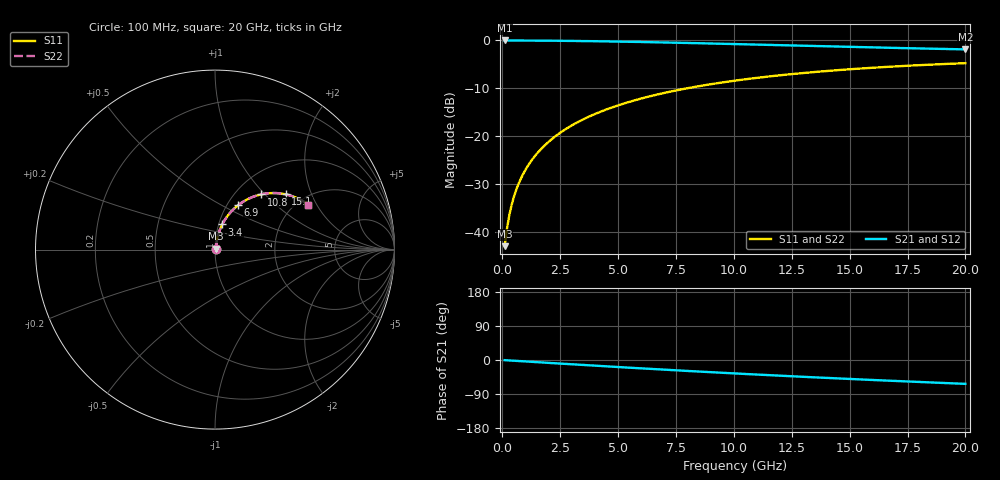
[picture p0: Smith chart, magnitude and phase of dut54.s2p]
! Touchstone file exported from HFSS 2026.1.0
!  File:  C:/ffzhzh/LocalFiles/Ansys_Project_Files/temp_train_TMRDL_54_1782880907_8056.aedt
!  Generated:  12:43:13 PM Jul  1, 2026
!  Design:  TMRDL
!  Project:  temp_train_TMRDL_54_1782880907_8056
! Variables:
!  h_bsmrdl = 2um
!  h_ox = 20um
!  h_rdl = 5um
!  h_sub = 80um
!  h_tmrdl = 3.82um
!  h_tsv = 80um
!  h_via = 3um
!  l_bsmrdl = 300um
!  l_sub = 1369.83um
!  l_tmrdl = 969.83um
!  m_sub = 200um
!  pitch = 50.71um
!  r_tsv = 6um
!  s_tmrdl = 10um
!  w_bsmrdl = 18um
!  w_sub = 500um
!  w_tmrdl = 16.88um
!  x_tsv_center1 = 978.27um
!  x_tsv_center2 = 1296.27um
!  x_tsv_center3 = 2282.98um
!  x_tsv_center4 = 2600.98um
!  x_tsv_center5 = 3587.69um
!  x_tsv_center6 = 3905.69um
# GHz S MA R 50.000000
! Terminal data exported
! Port[1] = TM_RDL1_1_T1
! Port[2] = TM_RDL1_1_T2
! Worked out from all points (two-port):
!   200 points, 100 MHz to 20 GHz, reference 50 ohm
!   highest |S21| = -0.05 dB at 100 MHz (marker M1); lowest = -1.9 dB at 20 GHz (marker M2)
!   |S21| within 3 dB of the highest: start of sweep to end of sweep
!   lowest |S11| = -43.0 dB at 100 MHz (marker M3), VSWR 1.01, Z = 50.5 + j0.465 ohm
!   |S11| at or under -10 dB: start of sweep to 8.011 GHz
!   |S22| runs from -43.0 to -4.8 dB; largest |S21 - S12| = 3.5e-15
!   S11 on the Smith chart (normalised r, x): 100 MHz: 1.01, +0.01; 3.4 GHz: 1.04, +0.30; 6.9 GHz: 1.12, +0.60; 10.8 GHz: 1.30, +0.95; 15.1 GHz: 1.62, +1.33; 20 GHz: 2.28, +1.70
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0.1  0.007109 40.3  0.9946 -0.4  0.9946 -0.4  0.007109 40.3
! Gamma 0 0 0 0
! Port Impedance 50 0 50 0
0.2  0.01074 58.1  0.9944 -0.8  0.9944 -0.8  0.01074 58.1
0.3  0.01482 66.1  0.9942 -1.2  0.9942 -1.2  0.01482 66.1
0.4  0.019 70.3  0.9939 -1.6  0.9939 -1.6  0.019 70.3
0.5  0.02322 72.9  0.9937 -1.9  0.9937 -1.9  0.02322 72.9
0.6  0.02745 74.7  0.9935 -2.3  0.9935 -2.3  0.02745 74.7
0.8  0.03594 76.8  0.993 -3.1  0.993 -3.1  0.03594 76.8
1.1  0.04875 78.1  0.9923 -4.2  0.9923 -4.2  0.04875 78.1
1.5  0.06586 78.4  0.9911 -5.7  0.9911 -5.7  0.06586 78.4
2  0.08717 77.8  0.9891 -7.6  0.9891 -7.6  0.08717 77.8
2.6  0.1125 76.3  0.9862 -9.8  0.9862 -9.8  0.1125 76.4
3.4  0.1456 74.0  0.9812 -12.8  0.9812 -12.8  0.1456 74.0
3.5  0.1497 73.7  0.9805 -13.1  0.9805 -13.1  0.1497 73.7
5  0.2091 68.8  0.9683 -18.6  0.9683 -18.6  0.2091 68.8
6.8  0.2752 62.8  0.9502 -24.8  0.9502 -24.8  0.2752 62.8
6.9  0.2787 62.5  0.9491 -25.2  0.9491 -25.2  0.2787 62.5
10.1  0.3802 52.3  0.9116 -35.6  0.9116 -35.6  0.3802 52.4
10.8  0.3998 50.2  0.903 -37.8  0.903 -37.8  0.3998 50.3
13.4  0.4642 42.7  0.8714 -45.5  0.8714 -45.5  0.4642 42.7
15.1  0.4998 38.0  0.8516 -50.3  0.8516 -50.3  0.4997 38.1
16.7  0.5288 33.8  0.8341 -54.6  0.8341 -54.6  0.5287 33.9
20  0.5765 25.6  0.8026 -63.0  0.8026 -63.0  0.5764 25.7
